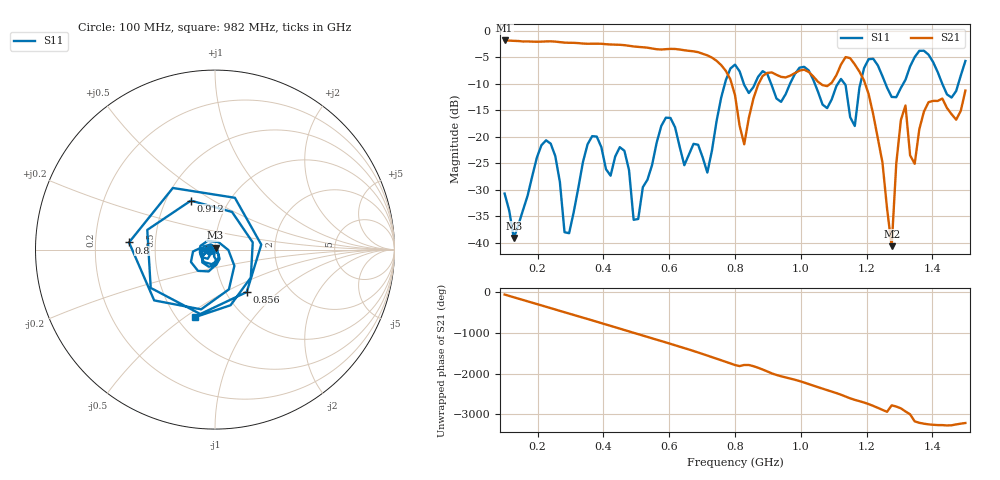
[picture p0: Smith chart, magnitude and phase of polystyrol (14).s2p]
! NanoVNA-App
! Date: 2025-09-25 15:30:00
! Start: 100MHz Stop: 1,5GHz Points: 101
! S-Parameter data: F S11 S21 S12 S22
# Hz S RI R 50
!  Frequency  S11_Real  S11_Imag  S21_Real  S21_Imag  S12_Real  S12_Imag  S22_Real  S22_Imag
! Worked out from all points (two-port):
!   101 points, 100 MHz to 1.5 GHz, reference 50 ohm
!   highest |S21| = -1.80 dB at 100 MHz (marker M1); lowest = -40.6 dB at 1.276 GHz (marker M2)
!   |S21| within 3 dB of the highest: start of sweep to 722.2 MHz
!   lowest |S11| = -39.1 dB at 128 MHz (marker M3), VSWR 1.02, Z = 50.3 + j1.06 ohm
!   |S11| at or under -10 dB: start of sweep to 769.1 MHz; 909.9 MHz to 967 MHz (57.1 MHz wide, 6.08 % of centre); 1.043 GHz to 1.112 GHz (69.56 MHz wide, 6.46 % of centre) (the widest 3 of 7)
!   S12 and S22 are empty: the file has one direction only
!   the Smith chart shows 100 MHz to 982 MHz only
!   S11 on the Smith chart (normalised r, x): 100 MHz: 0.94, -0.01; 800 MHz: 0.35, +0.04; 856 MHz: 1.24, -0.64; 912 MHz: 0.67, +0.40; 982 MHz: 0.62, -0.55
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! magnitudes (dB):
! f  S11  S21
! 100 MHz  -30.7  -1.8
! 128 MHz  -39.1  -1.9
! 212 MHz  -21.6  -2.0
! 282 MHz  -38.0  -2.2
! 338 MHz  -24.8  -2.4
! 464 MHz  -22.6  -2.7
! 506 MHz  -35.5  -3.0
! 576 MHz  -17.9  -3.5
! 716 MHz  -26.7  -4.6
! 800 MHz  -6.4  -12.1
! 828 MHz  -10.2  -21.4
! 856 MHz  -10.6  -12.8
! 912 MHz  -10.3  -7.8
! 982 MHz  -8.1  -8.0
! 1.038 GHz  -9.2  -8.6
! 1.164 GHz  -17.9  -6.3
! 1.192 GHz  -7.0  -9.4
! 1.276 GHz  -12.5  -40.6
! 1.318 GHz  -9.2  -14.1
! 1.346 GHz  -4.9  -25.1
! 1.388 GHz  -4.5  -13.5
! 1.5 GHz  -5.7  -11.3
